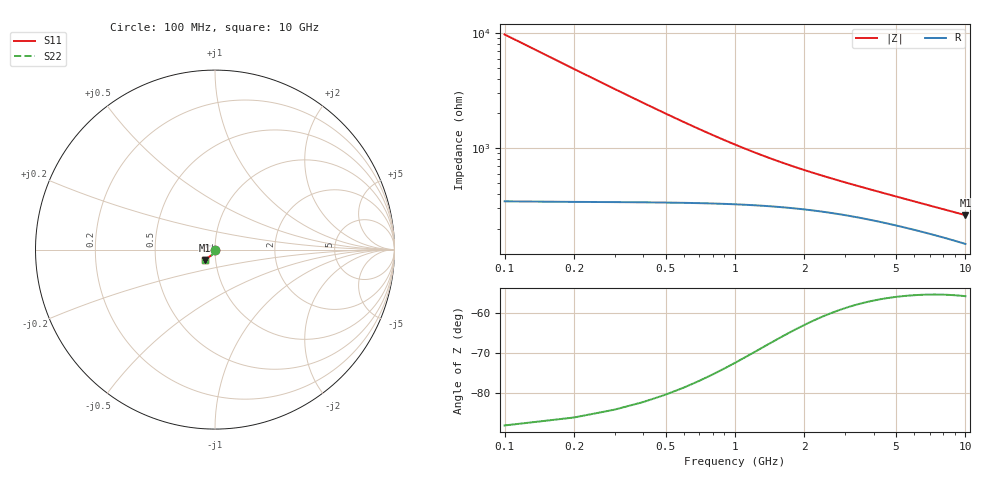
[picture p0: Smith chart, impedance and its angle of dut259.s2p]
! Touchstone file exported from HFSS 2024.1.0
!  File:  C:/UserFiles/LocalFiles/RDL_TSV_Batchsim/temp_TSV1_259_1778769404.aedt
!  Generated:  10:40:50 PM May 14, 2026
!  Design:  TSV1
!  Project:  temp_TSV1_259_1778769404
!  Setup:  Setup1
!  Solution:  Sweep
! Variables:
!  dtsv = 26.44um
!  hbump = 3um
!  htsv = 50.74um
!  lrdl = 252.1521522um
!  p = 40
!  p1 = 57.42um
!  t = 500um
!  trdl = 3um
!  wrdl = 24.89489489um
# GHz S MA R 50.000000
! Terminal data exported
! Port[1] = TSV22_T1
! Port[2] = TSV22_T2
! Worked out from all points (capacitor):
!   100 points, 100 MHz to 10 GHz, reference 50 ohm
!   read as one part in shunt: C = 164 fF near 100 MHz
!   lowest |Z| = 262 ohm at 10 GHz (marker M1)
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0.1  0.002378 -90.6  0.9998 -0.2  0.9998 -0.2  0.002378 -90.6
! Gamma 0 0 0 0
! Port Impedance 50 0 50 0
0.2  0.004737 -93.6  0.9995 -0.3  0.9995 -0.3  0.004737 -93.6
0.3  0.007064 -95.9  0.9991 -0.5  0.9991 -0.5  0.007064 -95.9
0.4  0.009344 -98.1  0.9984 -0.6  0.9984 -0.6  0.009344 -98.1
0.5  0.01156 -100.2  0.9976 -0.8  0.9976 -0.8  0.01156 -100.2
0.6  0.01371 -102.2  0.9967 -0.9  0.9967 -0.9  0.01371 -102.2
0.7  0.01578 -104.1  0.9957 -1.0  0.9957 -1.0  0.01578 -104.1
0.8  0.01777 -105.9  0.9947 -1.1  0.9947 -1.1  0.01777 -105.9
0.9  0.01967 -107.6  0.9935 -1.2  0.9935 -1.2  0.01967 -107.6
1.1  0.02321 -110.8  0.9913 -1.4  0.9913 -1.4  0.02321 -110.8
1.4  0.02789 -114.8  0.9879 -1.7  0.9879 -1.7  0.02789 -114.8
1.6  0.03063 -117.0  0.9857 -1.9  0.9857 -1.9  0.03063 -117.0
1.8  0.03312 -118.9  0.9837 -2.0  0.9837 -2.0  0.03312 -118.9
2.1  0.03646 -121.3  0.9809 -2.2  0.9809 -2.2  0.03646 -121.3
2.5  0.04033 -123.7  0.9775 -2.4  0.9775 -2.4  0.04033 -123.7
2.9  0.04374 -125.6  0.9745 -2.6  0.9745 -2.6  0.04374 -125.6
3.4  0.04755 -127.3  0.9712 -2.8  0.9712 -2.8  0.04755 -127.3
4.2  0.05291 -129.2  0.9667 -3.1  0.9667 -3.1  0.05291 -129.2
5.1  0.05823 -130.6  0.9624 -3.4  0.9624 -3.4  0.05823 -130.6
6.7  0.06639 -132.2  0.9561 -4.0  0.9561 -4.0  0.06639 -132.2
8.4  0.07379 -133.1  0.9506 -4.6  0.9506 -4.6  0.07379 -133.1
10  0.07998 -133.6  0.9463 -5.1  0.9463 -5.1  0.07998 -133.6
